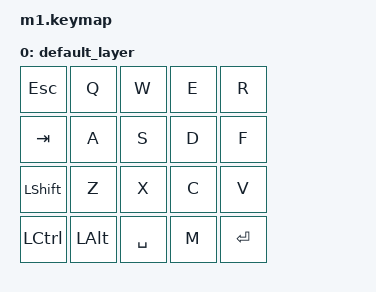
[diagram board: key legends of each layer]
#include <behaviors.dtsi>
#include <dt-bindings/zmk/keys.h>
#include <dt-bindings/zmk/bt.h>

/ {
    keymap {
        compatible = "zmk,keymap";

        default_layer {
            bindings = <
                &kp ESC   &kp Q     &kp W     &kp E     &kp R
                &kp TAB   &kp A     &kp S     &kp D     &kp F
                &kp LSHFT &kp Z     &kp X     &kp C     &kp V
                &kp LCTRL &kp LALT  &kp SPACE &kp M     &kp ENTER
            >;
        };
    };
};
